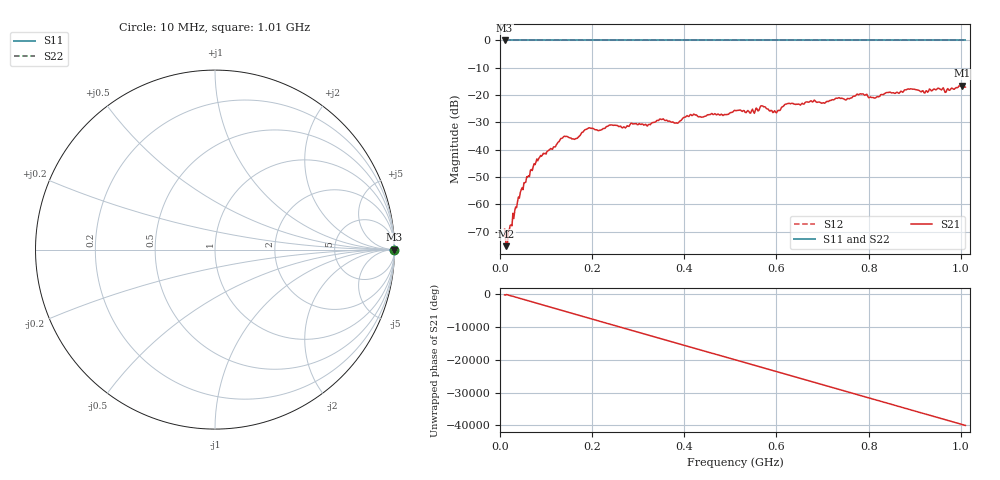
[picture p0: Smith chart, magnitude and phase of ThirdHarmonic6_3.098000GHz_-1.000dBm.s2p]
! 8/17/2025 9:07:58 AM
! C:\ANRITSUVNA\TEMP\TEMP.S2P
! CHANNEL.1
! TR.MEASUREMENT
! RAW.DATA
! RF.CORRECTION.OFF
! AVERAGING.OFF
! IF.BANDWIDTH: 5KHZ
! SWEEPTYPE:  FREQ.SWEEP(Linear)
! Reference Plane Port Info
! PORT:  PORT1  PORT2
! DISTANCE:  0  m  0  m
! TIME:  0  s  0  s
! PHASE.OFFSET:  0  deg.  0  deg.
! LOSS:  0  dB  0  dB
! REF.LOSS:  0  dB  0  dB
! REF.FREQ:  0  Hz  0  Hz
! Power Info
! POWER:  -20  dBm  -20  dBm
! EFF.POWER:  -20  dBm  -20  dBm
! SOURCE.ATTEN:  0  dB  0  dB
! TEST.ATTEN:  0  dB  0  dB
# GHZ S RI R 50.0
! FREQ.GHZ  S11RE  S11IM  S21RE  S21IM  S12RE  S12IM  S22RE  S22IM
!; PortSelection: Port_12
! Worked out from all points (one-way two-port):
!   501 points, 10 MHz to 1.01 GHz, reference 50 ohm
!   highest |S21| = -16.56 dB at 1.002 GHz (marker M1); lowest = -75.3 dB at 14 MHz (marker M2)
!   lowest |S11| = 0.0 dB at 10 MHz (marker M3)
!   |S11| at or under -10 dB: nowhere
!   |S22| runs from 0.0 to 0.0 dB; largest |S21 - S12| = 1.1
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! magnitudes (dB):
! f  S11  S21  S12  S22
! 10 MHz  0.0  -69.1  0.0  0.0
! 14 MHz  0.0  -75.3  0.0  0.0
! 44 MHz  0.0  -55.7  0.0  0.0
! 76 MHz  0.0  -45.5  0.0  0.0
! 136 MHz  0.0  -35.7  0.0  0.0
! 164 MHz  0.0  -35.9  0.0  0.0
! 178 MHz  0.0  -33.6  0.0  0.0
! 344 MHz  0.0  -29.3  0.0  0.0
! 382 MHz  0.0  -30.1  0.0  0.0
! 416 MHz  0.0  -27.5  0.0  0.0
! 510 MHz  0.0  -25.6  0.0  0.0
! 548 MHz  0.0  -25.2  0.0  0.0
! 570 MHz  0.0  -24.0  0.0  0.0
! 596 MHz  0.0  -25.7  0.0  0.0
! 622 MHz  0.0  -23.3  0.0  0.0
! 678 MHz  0.0  -22.5  0.0  0.0
! 702 MHz  0.0  -22.8  0.0  0.0
! 784 MHz  0.0  -19.6  0.0  0.0
! 812 MHz  0.0  -21.0  0.0  0.0
! 844 MHz  0.0  -19.0  0.0  0.0
! 1.002 GHz  0.0  -16.6  0.0  0.0
! 1.01 GHz  0.0  -17.1  0.0  0.0
